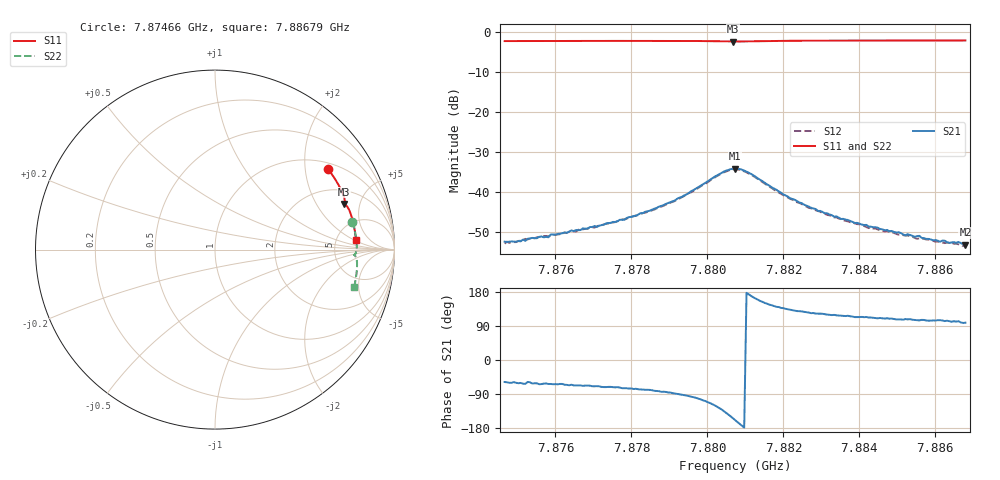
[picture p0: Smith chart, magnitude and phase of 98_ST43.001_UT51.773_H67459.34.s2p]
#  HZ  S  DB  R  50.00
! Rohde & Schwarz Vector Network Analyzer
! Rohde-Schwarz,ZNB20-2Port,1311601062101988,3.16
! Created: UTC 1/12/2023, 6:36:30 PM
! freq[Hz]  db:S11  ang:S11  db:S21  ang:S21  db:S12  ang:S12  db:S22  ang:S22
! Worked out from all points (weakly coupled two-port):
!   201 points, 7.87466 GHz to 7.88679 GHz, reference 50 ohm
!   highest |S21| = -34.10 dB at 7.88073 GHz (marker M1); lowest = -53.1 dB at 7.88679 GHz (marker M2)
!   lowest |S11| = -2.3 dB at 7.88067 GHz (marker M3), VSWR 7.46, Z = 146 + j178 ohm
!   |S11| at or under -10 dB: nowhere
!   |S22| runs from -2.2 to -1.9 dB; largest |S21 - S12| = 0.0013
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7.874661e9  -2.24 35.5  -52.33 -58.1  -52.84 -61.6  -2.14 11.5
7.875207e9  -2.23 34.0  -52.16 -62.7  -51.63 -64.3  -2.13 10.1
7.875267e9  -2.22 33.8  -51.61 -57.9  -51.76 -62.8  -2.13 10.0
7.875631e9  -2.22 32.8  -51.02 -63.6  -51.20 -65.0  -2.11 9.1
7.875813e9  -2.22 32.3  -51.25 -63.3  -50.94 -68.0  -2.10 8.7
7.875874e9  -2.22 32.2  -50.56 -63.3  -50.94 -67.3  -2.11 8.6
7.876723e9  -2.20 29.8  -48.99 -68.2  -49.27 -70.7  -2.08 6.6
7.877815e9  -2.19 26.8  -46.87 -74.5  -46.77 -77.4  -2.06 4.0
7.878725e9  -2.19 24.3  -43.59 -82.3  -43.93 -85.7  -2.05 1.9
7.879149e9  -2.19 23.1  -42.03 -88.4  -42.13 -91.6  -2.05 0.8
7.880423e9  -2.31 19.7  -34.88 -134.3  -35.05 -137.7  -2.17 -2.1
7.880666e9  -2.34 19.5  -34.16 -153.1  -34.30 -156.7  -2.20 -2.2
7.880726e9  -2.34 19.4  -34.10 -158.3  -34.30 -161.8  -2.21 -2.3
7.88109e9  -2.30 19.0  -35.13 173.0  -35.34 169.5  -2.16 -2.4
7.882e9  -2.17 16.7  -40.54 136.8  -40.76 133.1  -2.02 -4.4
7.882788e9  -2.13 14.5  -44.06 123.9  -44.16 120.8  -1.98 -6.2
7.884244e9  -2.11 10.6  -48.54 112.1  -48.96 108.8  -1.94 -9.5
7.88479e9  -2.10 9.1  -49.73 108.9  -49.95 106.3  -1.94 -10.7
7.885518e9  -2.09 7.2  -50.96 105.0  -51.63 103.7  -1.93 -12.4
7.886124e9  -2.08 5.6  -52.35 105.0  -52.41 100.8  -1.92 -13.7
7.88661e9  -2.08 4.4  -52.41 102.3  -52.99 99.0  -1.91 -14.7
7.886792e9  -2.08 3.9  -53.06 98.5  -53.25 99.7  -1.92 -15.1
